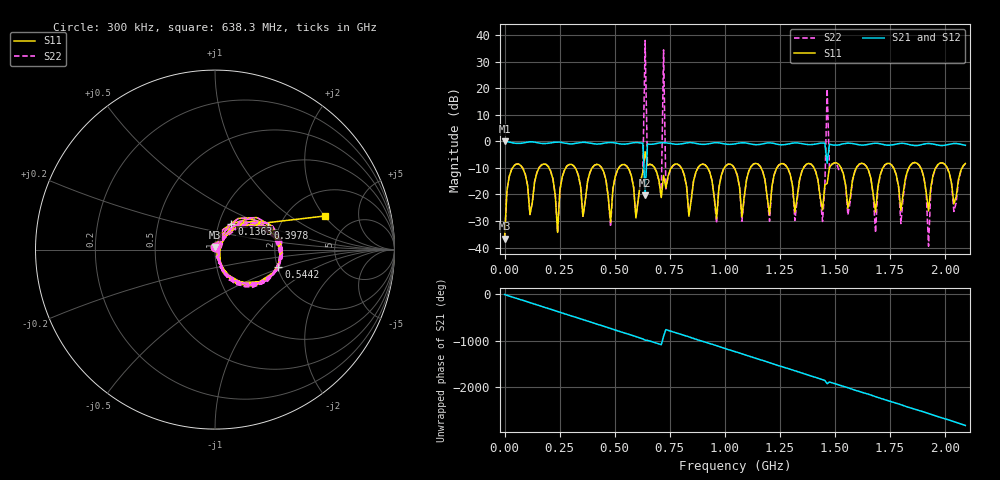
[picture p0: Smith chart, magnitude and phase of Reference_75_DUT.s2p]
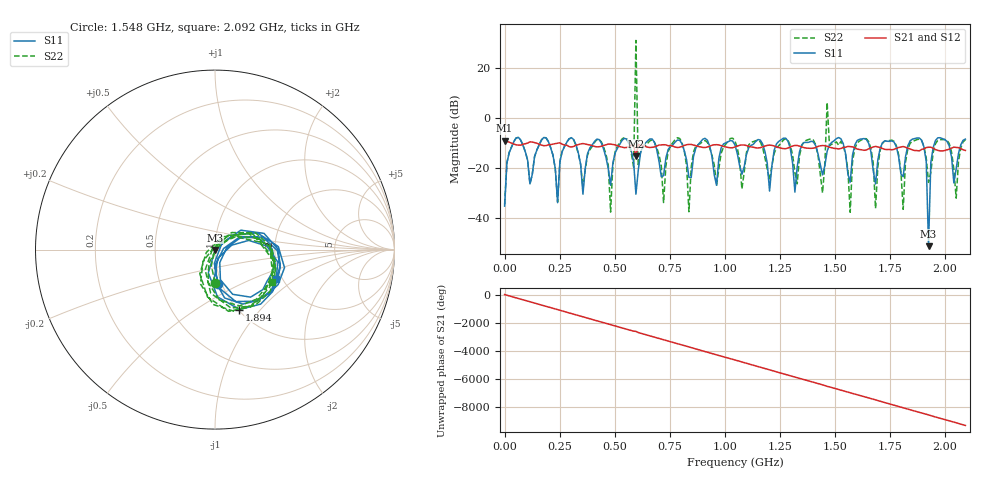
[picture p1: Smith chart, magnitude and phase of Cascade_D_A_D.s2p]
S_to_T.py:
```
import matplotlib.pyplot as plt
import skrf as rf
from skrf import Network
import numpy as np
import math, cmath
from scipy import linalg

plt.rcParams["font.family"] = "Century Gothic"
plt.rcParams["font.size"] = "14"

#Интересные функции numpy
#https://pythonworld.ru/numpy/4.html
#example
#https://github.com/scikit-rf/scikit-rf/issues/235


#----------------------------------------------------------
#Input Data
#----------------------------------------------------------

S_75 = Network("C:/Users/SH/PycharmProjects/Course_Python_Django/SP/Two_ports/Reference_75_DUT.s2p")
Cascade = Network("C:/Users/SH/PycharmProjects/Course_Python_Django/SP/Two_ports/Cascade_D_A_D.s2p")
Attenuator = Network("C:/Users/SH/PycharmProjects/Course_Python_Django/SP/Two_ports/Attenuator_9db.s2p")
F = S_75.f[:]





#----------------------------------------------------------
#Conversion and calculations
#----------------------------------------------------------

Cascade_t = rf.s2t(Cascade.s)
Attenuator_t = rf.s2t(Attenuator.s)

Matrix = np.zeros((len(Cascade_t), 2, 2), complex)
for i in range(len(Cascade_t)):

    Value_1 = Cascade_t[i]@Attenuator_t[i]
    Value_2 = linalg.sqrtm(Value_1)
    Value_3 = Value_2@linalg.inv(Attenuator_t[i])

    Matrix[i, 0, 0] = Value_3[0, 0]
    Matrix[i, 1, 0] = Value_3[1, 0]
    Matrix[i, 1, 1] = Value_3[1, 1]
    Matrix[i, 0, 1] = Value_3[0, 1]


Matrix_s = rf.t2s(Matrix)




#----------------------------------------------------------
#Plot
#----------------------------------------------------------
plt.figure()
plt.plot(F, 20*np.log10(S_75.s[:, 1-1, 1-1]), label='Measure', linewidth ='3')
plt.plot(F, 20*np.log10(Matrix_s[:,1-1,1-1]), label='Calc', linewidth ='3')
plt.xlabel('F, Гц')
plt.ylabel('S11, дБ')
plt.legend()
plt.grid()

plt.figure()
plt.plot(F, 20*np.log10(  S_75.s[:,2-1, 1-1]), label='Measure', linewidth ='3')
plt.plot(F, 20*np.log10(Matrix_s[:,2-1, 1-1]), label='Calc', linewidth ='3')
plt.xlabel('F, Гц')
plt.ylabel('S21, дБ')
plt.legend()
plt.grid()
plt.show()
#----------------------------------------------------------
#----------------------------------------------------------
```
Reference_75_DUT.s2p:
!Agilent Technologies,E8357A,US42070586,A.04.87.01
!Agilent E8357A: A.04.87.01
!Date: Thursday, April 15, 2021 17:31:29
!Correction: S11(Full 2 Port SOLT,1,2) S21(Full 2 Port SOLT,1,2) S12(Full 2 Port SOLT,1,2) S22(Full 2 Port SOLT,1,2)
!S2P File: Measurements: S11, S21, S12, S22:
# Hz S  RI  R 50
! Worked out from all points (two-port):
!   201 points, 300 kHz to 2.092 GHz, reference 50 ohm
!   highest |S21| = 0.01 dB at 300 kHz (marker M1); lowest = -20.4 dB at 638.3 MHz (marker M2)
!   |S21| within 3 dB of the highest: start of sweep to 629.1 MHz; 647.8 MHz to 1.457 GHz (809.6 MHz wide, 76.9 % of centre)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
!   lowest |S11| = -36.6 dB at 300 kHz (marker M3), VSWR 1.03, Z = 50 + j1.48 ohm
!   |S11| at or under -10 dB: 201.7 MHz to 278.1 MHz (76.39 MHz wide, 31.8 % of centre); 320.6 MHz to 397.3 MHz (76.74 MHz wide, 21.4 % of centre); 1.889 GHz to 1.957 GHz (67.99 MHz wide, 3.54 % of centre)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
!   |S22| runs from -39.4 to 37.9 dB; largest |S21 - S12| = 30
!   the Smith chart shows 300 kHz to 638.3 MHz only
!   S11 on the Smith chart (normalised r, x): 300 kHz: 1.00, +0.03; 136.3 MHz: 1.15, +0.34; 397.8 MHz: 1.75, +0.48; 544.2 MHz: 2.03, -0.45; 638.3 MHz: 3.17, +2.00
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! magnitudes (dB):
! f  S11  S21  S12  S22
! 300 kHz  -36.6  0.0  0.0  -36.0
! 136.3 MHz  -15.4  -0.3  -0.3  -15.2
! 397.8 MHz  -9.9  -0.8  -0.8  -10.0
! 544.2 MHz  -8.7  -1.1  -1.0  -8.8
! 596.5 MHz  -28.8  -0.5  -0.5  -28.3
! 638.3 MHz  -3.9  -20.4  29.6  37.9
! 711.6 MHz  -21.1  -0.5  -0.5  -21.2
! 722 MHz  -12.9  -0.5  13.4  34.4
! 732.5 MHz  -17.5  -0.6  -0.5  -17.9
! 1.046 GHz  -10.4  -1.0  -0.9  -10.5
! 2.092 GHz  -8.3  -1.5  -1.4  -8.4
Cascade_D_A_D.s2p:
!Agilent Technologies,E8357A,US42070586,A.04.87.01
!Agilent E8357A: A.04.87.01
!Date: Thursday, April 15, 2021 17:30:00
!Correction: S11(Full 2 Port SOLT,1,2) S21(Full 2 Port SOLT,1,2) S12(Full 2 Port SOLT,1,2) S22(Full 2 Port SOLT,1,2)
!S2P File: Measurements: S11, S21, S12, S22:
# Hz S  RI  R 50
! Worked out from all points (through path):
!   201 points, 300 kHz to 2.092 GHz, reference 50 ohm
!   highest |S21| = -9.11 dB at 300 kHz (marker M1); lowest = -15.3 dB at 596.5 MHz (marker M2)
!   lowest |S11| = -51.2 dB at 1.925 GHz (marker M3), VSWR 1.01, Z = 50 - j0.271 ohm
!   |S11| at or under -10 dB: 78.89 MHz to 161.3 MHz (82.43 MHz wide, 68.6 % of centre); 439.7 MHz to 526.7 MHz (87 MHz wide, 18 % of centre); 1.041 GHz to 1.135 GHz (94.07 MHz wide, 8.65 % of centre)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
!   |S22| runs from -37.7 to 30.9 dB; largest |S21 - S12| = 4.5
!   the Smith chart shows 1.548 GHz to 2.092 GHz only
!   S11 on the Smith chart (normalised r, x): 1.548 GHz: 0.96, -0.38; 1.894 GHz: 1.01, -0.78; 2.092 GHz: 1.85, -0.71
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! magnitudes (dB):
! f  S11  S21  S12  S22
! 300 kHz  -35.2  -9.1  -9.1  -34.6
! 481.5 MHz  -26.9  -10.5  -10.5  -37.6
! 586.1 MHz  -17.6  -10.7  -10.7  -19.7
! 596.5 MHz  -30.5  -15.3  13.3  30.9
! 607 MHz  -21.0  -10.6  -10.7  -19.3
! 722 MHz  -23.0  -10.7  -10.6  -33.8
! 1.046 GHz  -10.8  -11.6  -11.6  -9.3
! 1.548 GHz  -14.3  -11.7  -11.6  -14.7
! 1.894 GHz  -8.9  -12.6  -12.6  -9.1
! 1.925 GHz  -51.2  -11.7  -11.7  -25.8
! 2.092 GHz  -8.5  -13.0  -12.9  -8.8
